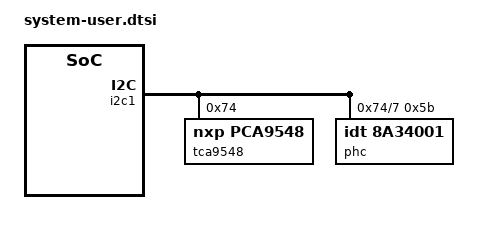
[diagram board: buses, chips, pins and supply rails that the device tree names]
/include/ "system-conf.dtsi"
/ {

	gt_pll: gt_pll@a40a0000 { 
			reg = <0x0 0xa40a0000 0x0 0x10000>;
	};
	gt_ctrl_common: gt_ctrl_common@a4060000 {
			reg = <0x0 0xa4060000 0x0 0x40000>;
	};
		
	
	/delete-node/ gt_quad_base@a4000000;
	/delete-node/ gpio@a4060000;
	/delete-node/ mrmac@a4011000;
	/delete-node/ mrmac@a4012000;
	/delete-node/ mrmac@a4013000;
	
	
		
};

&GT_WRAPPER_gt_quad_base{
	status = "disabled";

};

&amba {
        zyxclmm_drm {
                compatible = "xlnx,zocl-versal";
        };
};


&DATAPATH_MCDMA_HIER_axi_mcdma_0{
    compatible = "xlnx,eth-dma";
    xlnx,addrwidth = <0x20>;
    xlnx,include-dre;
};



&mrmac_0 {
    axistream-connected = <&DATAPATH_MCDMA_HIER_axi_mcdma_0>;
    interrupt-names = "mm2s_ch1_introut", "s2mm_ch1_introut";
    interrupt-parent = <&gic>;
    interrupts = <0 84 4 0 85 4>;
    xlnx,gt-mode = "Wide";
    xlnx,gtpll = <&gt_pll>;
    xlnx,gtctrl = <&gt_ctrl_common>;
    max-speed = <100000>;
    xlnx,channel-ids = "1";
    xlnx,num-queues = /bits/ 16 <0x1>;
    xlnx,addrwidth = <0x20>;
    xlnx,axistream-dwidth = <0x100>;
};

&mrmac_0_1 {
    axistream-connected = <&DATAPATH_MCDMA_HIER_axi_mcdma_0>;
    interrupt-names = "mm2s_ch1_introut", "s2mm_ch1_introut";
    interrupt-parent = <&gic>;
    interrupts = <0 84 4 0 85 4>;
    local-mac-address = [00 0a 35 00 00 01];
    xlnx,gt-mode = "Wide";
    xlnx,gtpll = <&gt_pll>;
    xlnx,gtctrl = <&gt_ctrl_common>;
    max-speed = <100000>;
    xlnx,channel-ids = "1";
    xlnx,num-queues = /bits/ 16 <0x1>;
    xlnx,addrwidth = <0x20>;
    status = "disabled";
    xlnx,axistream-dwidth = <0x100>;
};

&mrmac_0_2 {
    axistream-connected = <&DATAPATH_MCDMA_HIER_axi_mcdma_0>;
    interrupt-names = "mm2s_ch1_introut", "s2mm_ch1_introut";
    interrupt-parent = <&gic>;
    interrupts = <0 84 4 0 85 4>;
    local-mac-address = [00 0a 35 00 00 02];
    xlnx,gt-mode = "Wide";
    xlnx,gtpll = <&gt_pll>;
    xlnx,gtctrl = <&gt_ctrl_common>;
    max-speed = <100000>;
    xlnx,channel-ids = "1";
    xlnx,num-queues = /bits/ 16 <0x1>;
    xlnx,addrwidth = <0x20>;
    status = "disabled";
    xlnx,axistream-dwidth = <0x100>;
};

&mrmac_0_3 {
    axistream-connected = <&DATAPATH_MCDMA_HIER_axi_mcdma_0>;
    interrupt-names = "mm2s_ch1_introut", "s2mm_ch1_introut";
    interrupt-parent = <&gic>;
    interrupts = <0 84 4 0 85 4>;
    local-mac-address = [00 0a 35 00 00 03];
    xlnx,gt-mode = "Wide";
    xlnx,gtpll = <&gt_pll>;
    xlnx,gtctrl = <&gt_ctrl_common>;
    max-speed = <100000>;
    xlnx,channel-ids = "1";
    xlnx,num-queues = /bits/ 16 <0x1>;
    xlnx,addrwidth = <0x20>;
    status = "disabled";
    xlnx,axistream-dwidth = <0x100>;
};

&i2c1{
		      tca9548@74 {
			      	compatible = "nxp,pca9548";
				#pinctrl-names = "default";
				#address-cells = <0x1>;
				#size-cells = <0x0>;
			      	reg = <0x74>;
				#i2c-mux-idle-disconnect;



			      i2c@7 {
					#address-cells = <0x1>;
					#size-cells = <0x0>;
				      	reg = <0x7>;



				      phc@5b {
					      compatible = "idt,8a34001";
					      reg = <0x5b>;
				      };
			      };
		      };
	      };




	


